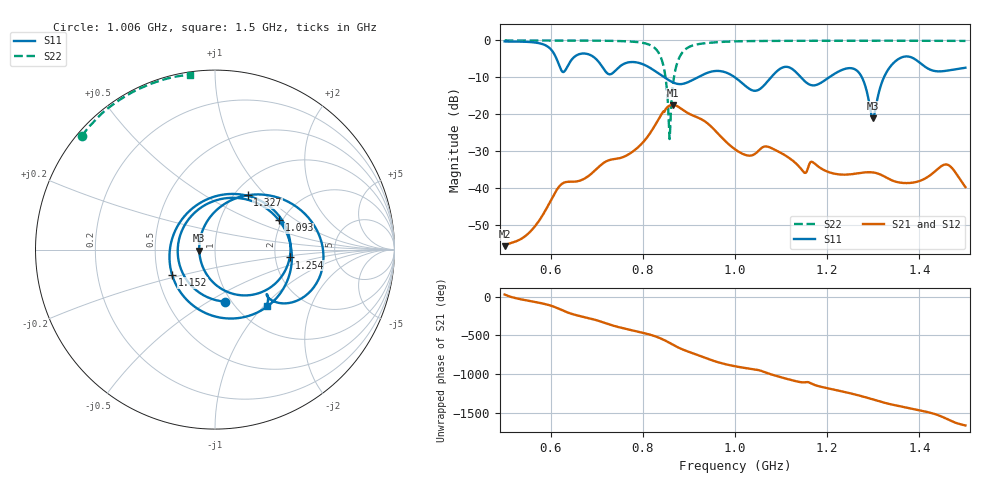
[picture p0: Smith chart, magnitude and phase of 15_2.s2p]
! TOUCHSTONE file generated by CST MICROWAVE STUDIO
! Date and time: Thu Feb 11 19:32:45 2021
! Project name: Scenario_1_Planar_Body_Tissue_Out_of_Line.cst
! Parameters = {L_HA=400; Ltissue=1000; MT=2.54; Rad_Dielectric=30; Rad_Lower=7.3; Rad_Upper=30; Wtissue=1000; a_HA=580; a_WG=246; b_HA=500; b_WG=121; c_HA=0; c_WG=187; d_feed=85; dx1=346; dy1=-103.8; h_feed=15; h_lower=18; h_upper=40; hfat=3; hgap=25; hmuscle=50; hskin=1.5}
! Header version: 2018
! Port assignment regex: !\s*Touchstone port\s*([0-9]+)\s*=\s*(CST MWS port|CST DS port)\s*([0-9]+|Zmin|Zmax)\s*\(\"(.*)\"\)(\s*mode\s*([0-9]+))?.*
! Touchstone port assignment:
! Touchstone port 1 = CST MWS port 1 ("")
! Touchstone port 2 = CST MWS port 2 ("")
# GHz S DB R 50
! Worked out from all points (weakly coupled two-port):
!   1003 points, 500 MHz to 1.5 GHz, reference 50 ohm
!   highest |S21| = -17.47 dB at 865 MHz (marker M1); lowest = -55.8 dB at 500 MHz (marker M2)
!   lowest |S11| = -21.1 dB at 1.299 GHz (marker M3), VSWR 1.19, Z = 41.9 - j0.428 ohm
!   |S11| at or under -10 dB: 846.4 MHz to 919.1 MHz (72.68 MHz wide, 8.23 % of centre); 999.6 MHz to 1.078 GHz (78.73 MHz wide, 7.58 % of centre); 1.143 GHz to 1.204 GHz (61.45 MHz wide, 5.24 % of centre)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
!   |S22| runs from -26.8 to 0.0 dB; largest |S21 - S12| = 0.00053
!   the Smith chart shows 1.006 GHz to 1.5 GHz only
!   S11 on the Smith chart (normalised r, x): 1.006 GHz: 0.94, -0.59; 1.093 GHz: 1.92, +0.74; 1.152 GHz: 0.59, -0.18; 1.254 GHz: 2.41, -0.26; 1.327 GHz: 1.15, +0.79; 1.5 GHz: 1.35, -1.04
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0.5  -0.27 -121.5  -55.81 30.6  -55.81 30.6  -0.01 151.1
0.667  -3.58 155.9  -37.87 106.0  -37.87 106.0  -0.04 138.4
0.717  -8.07 21.9  -33.05 23.9  -33.05 23.9  -0.09 132.7
0.74  -8.23 -95.7  -32.15 -20.2  -32.15 -20.2  -0.14 129.3
0.768  -5.97 177.1  -30.98 -61.1  -30.98 -61.1  -0.26 123.6
0.834  -8.96 27.6  -21.38 -166.7  -21.38 -166.7  -3.29 83.8
0.857  -10.83 -34.6  -17.75 126.2  -17.75 126.2  -24.45 -5.6
0.865  -11.36 -58.2  -17.47 99.8  -17.47 99.8  -12.38 -141.0
0.906  -10.85 177.3  -20.23 -5.7  -20.23 -5.7  -1.46 164.5
0.94  -8.79 81.2  -22.45 -81.0  -22.45 -81.0  -0.70 151.4
1  -10.03 -64.5  -29.53 -179.5  -29.53 -179.5  -0.26 140.4
1.006  -10.59 -79.0  -30.04 173.8  -30.04 173.8  -0.24 139.6
1.047  -13.60 161.3  -30.42 136.0  -30.42 136.0  -0.17 134.7
1.093  -8.14 24.7  -30.07 49.1  -30.07 49.1  -0.13 130.4
1.124  -7.73 -65.9  -32.48 -1.2  -32.48 -1.2  -0.11 127.7
1.152  -11.13 -149.3  -35.94 -27.9  -35.95 -27.7  -0.11 125.4
1.167  -12.17 165.5  -32.93 -48.6  -32.92 -48.7  -0.10 124.2
1.254  -7.56 -6.0  -36.27 -175.7  -36.27 -175.7  -0.08 117.6
1.299  -21.11 -176.7  -35.80 110.5  -35.80 110.5  -0.09 114.2
1.327  -9.05 59.1  -37.11 62.4  -37.11 62.4  -0.08 112.1
1.334  -7.61 47.0  -37.58 52.4  -37.58 52.4  -0.08 111.5
1.5  -7.41 -47.7  -39.78 132.7  -39.78 132.7  -0.14 98.0
